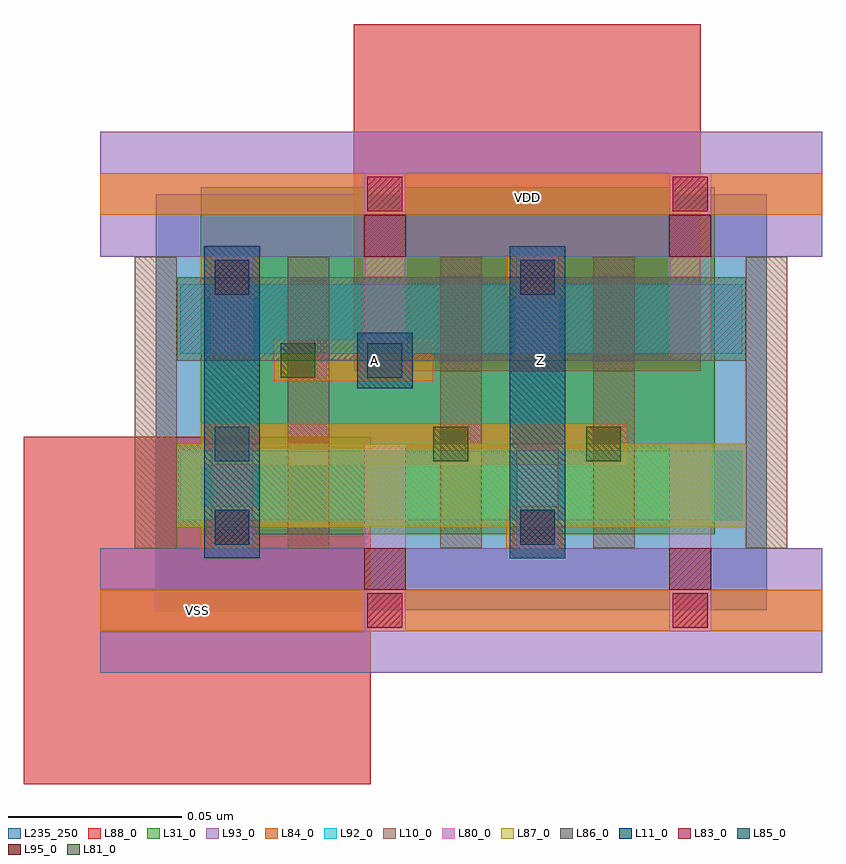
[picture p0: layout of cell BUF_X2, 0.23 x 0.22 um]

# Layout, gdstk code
import gdstk
lib = gdstk.Library(unit=1e-6, precision=1e-09)
def R(c, l, rs):  # rectangles x0, y0, x1, y1
    for r in rs: c.add(gdstk.rectangle(r[:2], r[2:], *l))
def A(c, l, x, y, w, h, nx, ny, dx, dy):  # array of equal rectangles
    R(c, l, [(x+i*dx, y+j*dy, x+i*dx+w, y+j*dy+h) for i in range(nx) for j in range(ny)])
L10_0 = (10, 0)
L11_0 = (11, 0)
L31_0 = (31, 0)
L80_0 = (80, 0)
L81_0 = (81, 0)
L83_0 = (83, 0)
L84_0 = (84, 0)
L85_0 = (85, 0)
L86_0 = (86, 0)
L87_0 = (87, 0)
L88_0 = (88, 0)
L92_0 = (92, 0)
L93_0 = (93, 0)
L95_0 = (95, 0)
L235_250 = (235, 250)

buf_x2 = lib.new_cell('BUF_X2')
A(buf_x2, L10_0, -0.006, 0.018, 0.012, 0.084, 5, 1, 0.044, 0)
R(buf_x2, L11_0, [(0.014,0.015,0.03,0.105), (0.102,0.015,0.118,0.105), (0.058,0.064,0.074,0.08)])
R(buf_x2, L31_0, [(0.013,0.022,0.113,0.122), (0.061,0.022,0.161,0.122)])
R(buf_x2, L80_0, [(0.06,-0.006,0.072,0.048), (0.148,-0.006,0.16,0.048), (0.016,0.018,0.028,0.048), (0.104,0.018,0.116,0.048), (0.016,0.072,0.028,0.102), (0.06,0.072,0.072,0.126), (0.104,0.072,0.116,0.102), (0.148,0.072,0.16,0.126)])
R(buf_x2, L81_0, [(0.08,0.043,0.09,0.053), (0.124,0.043,0.134,0.053), (0.036,0.067,0.046,0.077)])
R(buf_x2, L83_0, [(0.061,-0.005,0.071,0.005), (0.149,-0.005,0.159,0.005), (0.017,0.019,0.027,0.029), (0.105,0.019,0.115,0.029), (0.017,0.091,0.027,0.101), (0.105,0.091,0.115,0.101), (0.061,0.115,0.071,0.125), (0.149,0.115,0.159,0.125)])
R(buf_x2, L84_0, [(-0.016,-0.006,0.192,0.006), (0.013,0.018,0.03,0.03), (0.101,0.018,0.118,0.03), (0.013,0.042,0.136,0.054), (0.034,0.066,0.08,0.078), (0.013,0.09,0.03,0.102), (0.101,0.09,0.118,0.102), (-0.016,0.114,0.192,0.126)])
R(buf_x2, L85_0, [(0.017,0.019,0.027,0.029), (0.105,0.019,0.115,0.029), (0.017,0.043,0.027,0.053), (0.061,0.067,0.071,0.077), (0.017,0.091,0.027,0.101), (0.105,0.091,0.115,0.101)])
R(buf_x2, L86_0, [(0.006,0.072,0.17,0.096)])
R(buf_x2, L87_0, [(0.006,0.024,0.17,0.048)])
R(buf_x2, L88_0, [(-0.038,-0.05,0.062,0.05), (0.057,0.069,0.157,0.169)])
R(buf_x2, L92_0, [(0.007,0.026,0.169,0.046), (0.007,0.074,0.169,0.094)])
R(buf_x2, L93_0, [(-0.016,-0.018,0.192,0.018), (-0.016,0.102,0.192,0.138)])
R(buf_x2, L95_0, [(0.06,0.006,0.072,0.018), (0.148,0.006,0.16,0.018), (0.06,0.102,0.072,0.114), (0.148,0.102,0.16,0.114)])
R(buf_x2, L235_250, [(0,0,0.176,0.12)])
buf_x2.add(gdstk.Label('VSS', (0.012,0), layer=88, texttype=0))
buf_x2.add(gdstk.Label('VDD', (0.107,0.119), layer=88, texttype=0))
buf_x2.add(gdstk.Label('A', (0.063,0.072), layer=31, texttype=0))
buf_x2.add(gdstk.Label('Z', (0.111,0.072), layer=31, texttype=0))

lib.write_gds('BUF_X2.gds')
